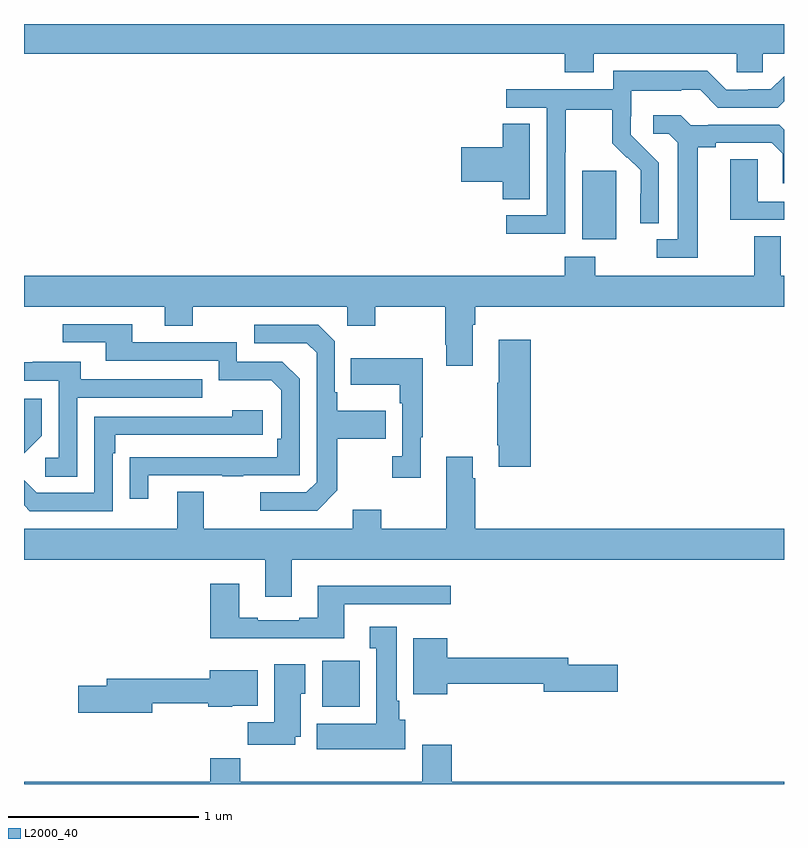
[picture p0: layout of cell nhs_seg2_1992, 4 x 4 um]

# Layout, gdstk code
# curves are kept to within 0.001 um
import gdstk
lib = gdstk.Library(unit=1e-6, precision=1e-09)
def R(c, l, rs):  # rectangles x0, y0, x1, y1
    for r in rs: c.add(gdstk.rectangle(r[:2], r[2:], *l))
def P(c, l, *ps):  # polygons
    for p in ps: c.add(gdstk.Polygon(p, *l))
L2000_40 = (2000, 40)

nhs_seg2_1992 = lib.new_cell('nhs_seg2_1992')
R(nhs_seg2_1992, L2000_40, [(216.569,636.206,216.766,636.448), (217.937,638.666,218.116,639.027)])
P(nhs_seg2_1992, L2000_40, [(217.999,639.644),(218.751,639.644),(218.751,639.546),(218.889,639.546),(218.889,639.644),(219,639.644),(219,639.8),(215,639.8),(215,639.644),(217.847,639.644),(217.847,639.545),(217.999,639.545)],
  [(217.848,639.124),(217.851,639.124),(217.851,639.348),(218.095,639.348),(218.095,639.173),(218.172,639.096),(218.175,639.099),(218.246,639.029),(218.246,638.906),(218.244,638.906),(218.244,638.752),(218.34,638.752),(218.34,639.07),(218.194,639.218),(218.194,639.315),(218.196,639.315),(218.196,639.449),(218.459,639.449),(218.459,639.453),(218.559,639.453),(218.652,639.36),(218.967,639.36),(219,639.393),(219,639.525),(218.931,639.456),(218.813,639.456),(218.813,639.453),(218.697,639.453),(218.597,639.553),(218.1,639.553),(218.1,639.456),(217.539,639.456),(217.539,639.36),(217.752,639.36),(217.752,638.793),(217.539,638.793),(217.539,638.695),(217.848,638.695)],
  [(218.545,639.152),(218.641,639.152),(218.641,639.174),(218.936,639.174),(218.993,639.117),(218.993,638.961),(219,638.961),(219,639.244),(218.974,639.27),(218.602,639.27),(218.602,639.267),(218.508,639.267),(218.456,639.319),(218.313,639.319),(218.313,639.222),(218.394,639.222),(218.441,639.175),(218.441,638.667),(218.331,638.667),(218.331,638.571),(218.545,638.571)],
  [(217.663,639.275),(217.52,639.275),(217.52,639.152),(217.302,639.152),(217.302,638.969),(217.52,638.969),(217.52,638.878),(217.663,638.878)],
  [(219,638.865),(218.862,638.865),(218.862,639.089),(218.717,639.089),(218.717,638.769),(219,638.769)],
  [(217.363,638.216),(217.376,638.216),(217.376,638.312),(219,638.312),(219,638.476),(218.983,638.476),(218.983,638.684),(218.843,638.684),(218.843,638.476),(218.007,638.476),(218.007,638.575),(217.847,638.575),(217.847,638.476),(215,638.476),(215,638.312),(215.741,638.312),(215.741,638.213),(215.889,638.213),(215.889,638.312),(216.702,638.312),(216.702,638.213),(216.849,638.213),(216.849,638.312),(217.216,638.312),(217.216,638.113),(217.223,638.113),(217.223,638.001),(217.363,638.001)],
  [(215.653,637.425),(216.043,637.425),(216.043,637.42),(216.155,637.42),(216.155,637.425),(216.45,637.425),(216.45,637.932),(216.36,638.022),(216.12,638.022),(216.12,638.124),(215.569,638.124),(215.569,638.22),(215.205,638.22),(215.205,638.124),(215.429,638.124),(215.429,638.028),(216.024,638.028),(216.024,637.925),(216.301,637.925),(216.354,637.872),(216.354,637.618),(216.334,637.618),(216.334,637.521),(215.557,637.52),(215.557,637.302),(215.653,637.302)],
  [(216.649,637.345),(216.649,637.618),(216.905,637.618),(216.905,637.765),(216.649,637.765),(216.649,637.861),(216.636,637.861),(216.636,638.13),(216.549,638.217),(216.213,638.217),(216.213,638.121),(216.489,638.121),(216.54,638.07),(216.54,637.389),(216.486,637.335),(216.243,637.335),(216.243,637.239),(216.543,637.239)],
  [(217.667,638.137),(217.499,638.137),(217.499,637.913),(217.492,637.913),(217.492,637.582),(217.499,637.582),(217.499,637.47),(217.667,637.47)],
  [(217.087,637.625),(217.099,637.625),(217.099,638.041),(216.721,638.041),(216.721,637.901),(216.978,637.901),(216.978,637.805),(216.99,637.805),(216.99,637.526),(216.939,637.526),(216.939,637.413),(217.087,637.413)],
  [(215.28,637.833),(215.939,637.833),(215.939,637.929),(215.299,637.929),(215.299,638.023),(215.045,638.023),(215.045,638.019),(215,638.019),(215,637.923),(215.184,637.923),(215.184,637.518),(215.112,637.518),(215.112,637.417),(215.28,637.417)],
  [(215.094,637.634),(215.094,637.828),(215,637.828),(215,637.54)],
  [(215.466,637.541),(215.479,637.541),(215.479,637.638),(216.256,637.638),(216.256,637.768),(216.095,637.768),(216.095,637.734),(215.37,637.734),(215.37,637.332),(215.067,637.332),(215,637.399),(215,637.267),(215.031,637.236),(215.466,637.236)],
  [(216.409,636.98),(219,636.98),(219,637.144),(217.376,637.144),(217.376,637.409),(217.363,637.409),(217.363,637.522),(217.223,637.522),(217.223,637.144),(216.879,637.144),(216.879,637.243),(216.731,637.243),(216.731,637.144),(215.947,637.144),(215.947,637.339),(215.807,637.339),(215.807,637.144),(215,637.144),(215,636.98),(216.269,636.98),(216.269,636.786),(216.409,636.786)],
  [(216.685,636.747),(217.246,636.747),(217.246,636.844),(216.545,636.844),(216.545,636.676),(216.449,636.676),(216.449,636.663),(216.229,636.663),(216.229,636.676),(216.133,636.676),(216.133,636.853),(215.981,636.853),(215.981,636.566),(216.685,636.566)],
  [(217.006,636.138),(216.976,636.138),(216.976,636.238),(216.961,636.238),(216.961,636.628),(216.821,636.628),(216.821,636.515),(216.854,636.515),(216.854,636.118),(216.542,636.118),(216.542,635.984),(217.006,635.984)],
  [(217.228,636.328),(217.736,636.328),(217.736,636.286),(218.125,636.286),(218.125,636.428),(217.864,636.428),(217.864,636.464),(217.228,636.464),(217.228,636.568),(217.049,636.568),(217.049,636.272),(217.228,636.272)],
  [(216.427,636.05),(216.457,636.05),(216.457,636.276),(216.481,636.276),(216.481,636.43),(216.317,636.43),(216.317,636.124),(216.178,636.124),(216.178,636.006),(216.427,636.006)],
  [(215.674,636.225),(215.971,636.225),(215.971,636.206),(216.096,636.206),(216.096,636.212),(216.229,636.212),(216.229,636.4),(215.978,636.4),(215.978,636.353),(215.435,636.353),(215.435,636.317),(215.286,636.317),(215.286,636.175),(215.674,636.175)],
  [(219,635.812),(217.25,635.812),(217.25,636.007),(217.097,636.007),(217.097,635.812),(216.137,635.812),(216.137,635.936),(215.981,635.936),(215.981,635.812),(215,635.812),(215,635.8),(219,635.8)])

lib.write_gds('nhs_seg2_1992.gds')
